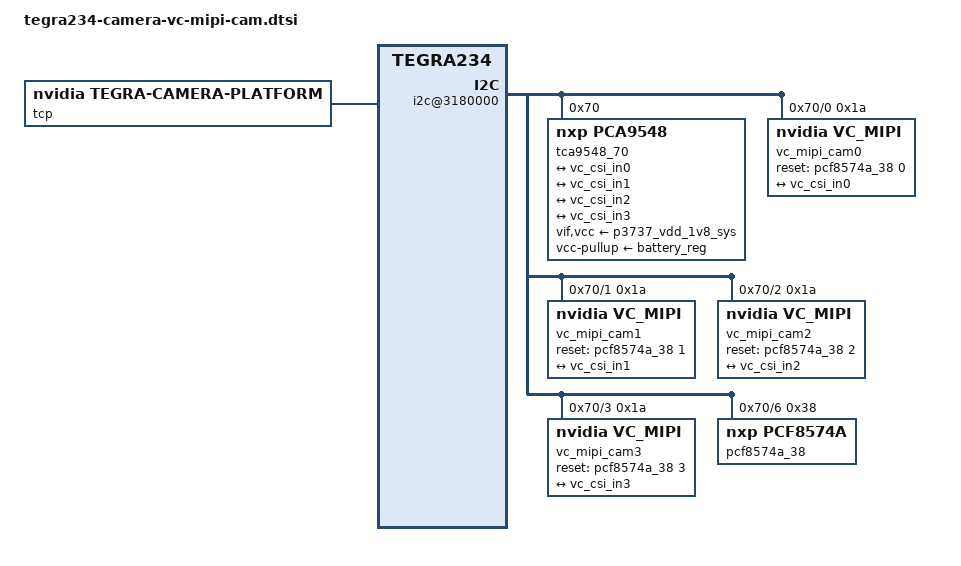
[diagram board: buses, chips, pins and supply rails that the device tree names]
/*
 * Copyright (c) 2025, Vision Components GmbH.  All rights reserved.
 *
 * This program is free software; you can redistribute it and/or modify
 * it under the terms of the GNU General Public License as published by
 * the Free Software Foundation; either version 2 of the License, or
 * (at your option) any later version.
 *
 * This program is distributed in the hope that it will be useful, but WITHOUT
 * ANY WARRANTY; without even the implied warranty of MERCHANTABILITY or
 * FITNESS FOR A PARTICULAR PURPOSE.  See the GNU General Public License for
 * more details.
 *
 * You should have received a copy of the GNU General Public License
 * along with this program.  If not, see <http://www.gnu.org/licenses/>.
 */

#include <dt-bindings/media/camera.h>
#include <dt-bindings/pinctrl/pinctrl-tegra.h>
#include "dt-bindings/clock/tegra234-clock.h"

// ------------------------------------------------------------------------------------------------
//  Driver Configuration for NVIDIA Jetson AGX Orin Developer Kit on Forecr DSADDON
// ------------------------------------------------------------------------------------------------
#define VC_MIPI_CAM_0       1   // 1: Enabled, 0: Disabled  (serial_a => CSI Port 0 => VI Stream 0)
#define VC_MIPI_CAM_1       1   // 1: Enabled, 0: Disabled  (serial_b => CSI Port 1 => VI Stream 1)
#define VC_MIPI_CAM_2       1   // 1: Enabled, 0: Disabled  (serial_c => CSI Port 2 => VI Stream 2)
#define VC_MIPI_CAM_3       1   // 1: Enabled, 0: Disabled  (serial_d => CSI Port 3 => VI Stream 3)
#define VC_MIPI_CAM_4       0   // 1: Enabled, 0: Disabled  (serial_e => CSI Port 4 => VI Stream 4)
#define VC_MIPI_CAM_5       0   // 1: Enabled, 0: Disabled  (serial_g => CSI Port 6 => VI Stream 5)

// ------------------------------------------------------------------------------------------------
//  Supported number of lanes
// -----+------------------------------------------------------------------------------------------
//  1   | OV7251, IMX296, IMX297
//  2   | OV9281, IMX264, IMX265
//  2,4 | IMX178, IMX183, IMX226, IMX250, IMX252, IMX273, IMX290, IMX327, IMX335, IMX392, 
//      | IMX412, IMX415, IMX462, IMX565, IMX566, IMX567, IMX568, IMX900
// -----+------------------------------------------------------------------------------------------
#define VC_MIPI_LANES       2   // 1, 2 Lanes
// ------------------------------------------------------------------------------------------------
//  Embedded Metadata Height
// -----+------------------------------------------------------------------------------------------
//  0   | IMX178, IMX183, IMX226, IMX250, IMX252, IMX264, IMX265, IMX273, IMX392, OV7251, OV9281
//  1   | IMX290, IMX327, IMX335, IMX415, IMX462, IMX565, IMX566, IMX567, IMX568, IMX900
//  2   | IMX296, IMX297, IMX412
// -----+------------------------------------------------------------------------------------------
#define VC_MIPI_METADATA_H  "0" // "0", "1", "2" Lines of meta data
// ------------------------------------------------------------------------------------------------
//   Sensor Manufacturer
// -----+------------------------------------------------------------------------------------------
//   1  | Sony Sensor (IMX)
//   2  | Omni Vision Sensor (OV)
// -----+------------------------------------------------------------------------------------------
#define VC_MIPI_MANUFACTURER 1
// ------------------------------------------------------------------------------------------------
//  GStreamer Support
// ------------------------------------------------------------------------------------------------
//  If you want to use GStreamer with nvarguscamerasrc you have to adjust this settings in the 
//  device tree below. The sections which have to be modified are marked by a comment. 
//  To find the correct parameter values please follow the instruction in the main README.md of 
//  this repository https://github.com/VC-MIPI-modules/vc_mipi_nvidia#gstreamer-support
// ------------------------------------------------------------------------------------------------

#define CAMERA_I2C_MUX_BUS(x) (0x1E + x)

#if VC_MIPI_LANES == 1
    #define BUS_WIDTH 1
    #define NUM_LANES "1" 
    #define PIX_CLK_HZ "150000000"
#endif
#if VC_MIPI_LANES == 2
    #define BUS_WIDTH 2
    #define NUM_LANES "2" 
    #define PIX_CLK_HZ "300000000"
#endif

#define VC_MIPI_CAMERAS (VC_MIPI_CAM_0 + VC_MIPI_CAM_1 + VC_MIPI_CAM_2 + VC_MIPI_CAM_3 + VC_MIPI_CAM_4 + VC_MIPI_CAM_5)

/ {
        tegra-capture-vi  {
                num-channels = <VC_MIPI_CAMERAS>;
                ports {
                        #address-cells = <1>;
                        #size-cells = <0>;
#if VC_MIPI_CAM_0 == 1
                        vc_vi_port0: port@0 {
                                reg = <0>;
                                vc_vi_in0: endpoint {
                                        port-index = <0>;
                                        bus-width = <BUS_WIDTH>;
                                        remote-endpoint = <&vc_csi_out0>;
                                };
                        };
#endif
#if VC_MIPI_CAM_1 == 1
                        vc_vi_port1: port@1 {
                                reg = <1>;
                                vc_vi_in1: endpoint {
                                        port-index = <1>;
                                        bus-width = <BUS_WIDTH>;
                                        remote-endpoint = <&vc_csi_out1>;
                                };
                        };
#endif
#if VC_MIPI_CAM_2 == 1
                        vc_vi_port2: port@2 {
                                reg = <2>;
                                vc_vi_in2: endpoint {
                                        port-index = <2>;
                                        bus-width = <BUS_WIDTH>;
                                        remote-endpoint = <&vc_csi_out2>;
                                };
                        };
#endif
#if VC_MIPI_CAM_3 == 1
                        vc_vi_port3: port@3 {
                                reg = <3>;
                                vc_vi_in3: endpoint {
                                        port-index = <3>;
                                        bus-width = <BUS_WIDTH>;
                                        remote-endpoint = <&vc_csi_out3>;
                                };
                        };
#endif
#if VC_MIPI_CAM_4 == 1
                        vc_vi_port4: port@4 {
                                reg = <4>;
                                vc_vi_in4: endpoint {
                                        port-index = <4>;
                                        bus-width = <BUS_WIDTH>;
                                        remote-endpoint = <&vc_csi_out4>;
                                };
                        };
#endif
#if VC_MIPI_CAM_5 == 1
                        vc_vi_port5: port@5 {
                                reg = <5>;
                                vc_vi_in5: endpoint {
                                        port-index = <5>;
                                        bus-width = <BUS_WIDTH>;
                                        remote-endpoint = <&vc_csi_out5>;
                                };
                        };
#endif
                }; // ports
        }; // tegra-capture-vi

        host1x@13e00000 {
                nvcsi@15a00000 {
                        num-channels = <VC_MIPI_CAMERAS>;
                        #address-cells = <1>;
                        #size-cells = <0>;
#if VC_MIPI_CAM_0 == 1
                        vc_csi_chan0: channel@0 {
                                reg = <0>;
                                ports {
                                        #address-cells = <1>;
                                        #size-cells = <0>;
                                                vc_csi_chan0_port0: port@0 {
                                                reg = <0>;
                                                vc_csi_in0: endpoint@0 {
                                                        port-index = <0>;
                                                        bus-width = <BUS_WIDTH>;
                                                        remote-endpoint = <&vc_mipi_out0>;
                                                };
                                        };
                                        vc_csi_chan0_port1: port@1 {
                                                reg = <1>;
                                                vc_csi_out0: endpoint@1 {
                                                        remote-endpoint = <&vc_vi_in0>;
                                                };
                                        };
                                };
                        };
#endif // VC_MIPI_CAM_0

#if VC_MIPI_CAM_1 == 1
                        vc_csi_chan1: channel@1 {
                                reg = <1>;
                                ports {
                                        #address-cells = <1>;
                                        #size-cells = <0>;
                                        vc_csi_chan1_port0: port@0 {
                                                reg = <0>;
                                                vc_csi_in1: endpoint@2 {
                                                        port-index = <1>;
                                                        bus-width = <BUS_WIDTH>;
                                                        remote-endpoint = <&vc_mipi_out1>;
                                                };
                                        };
                                        vc_csi_chan1_port1: port@1 {
                                                reg = <1>;
                                                vc_csi_out1: endpoint@3 {
                                                        remote-endpoint = <&vc_vi_in1>;
                                                };
                                        };
                                };
                        };
#endif // VC_MIPI_CAM_1

#if VC_MIPI_CAM_2 == 1
                        vc_csi_chan2: channel@2 {
                                reg = <2>;
                                ports {
                                        #address-cells = <1>;
                                        #size-cells = <0>;
                                        vc_csi_chan2_port0: port@0 {
                                                reg = <0>;
                                                vc_csi_in2: endpoint@4 {
                                                        port-index = <2>;
                                                        bus-width = <BUS_WIDTH>;
                                                        remote-endpoint = <&vc_mipi_out2>;
                                                };
                                        };
                                        vc_csi_chan2_port1: port@1 {
                                                reg = <1>;
                                                vc_csi_out2: endpoint@5 {
                                                        remote-endpoint = <&vc_vi_in2>;
                                                };
                                        };
                                };
                        };
#endif // VC_MIPI_CAM_2

#if VC_MIPI_CAM_3 == 1
                        vc_csi_chan3: channel@3 {
                                reg = <3>;
                                ports {
                                        #address-cells = <1>;
                                        #size-cells = <0>;
                                        vc_csi_chan3_port0: port@0 {
                                                reg = <0>;
                                                vc_csi_in3: endpoint@6 {
                                                        port-index = <3>;
                                                        bus-width = <BUS_WIDTH>;
                                                        remote-endpoint = <&vc_mipi_out3>;
                                                };
                                        };
                                        vc_csi_chan3_port1: port@1 {
                                                reg = <1>;
                                                vc_csi_out3: endpoint@7 {
                                                        remote-endpoint = <&vc_vi_in3>;
                                                };
                                        };
                                };
                        };
#endif // VC_MIPI_CAM_3

#if VC_MIPI_CAM_4 == 1
                        vc_csi_chan4: channel@4 {
                                reg = <4>;
                                ports {
                                        #address-cells = <1>;
                                        #size-cells = <0>;
                                        vc_csi_chan4_port0: port@0 {
                                                reg = <0>;
                                                vc_csi_in4: endpoint@8 {
                                                        port-index = <4>;
                                                        bus-width = <BUS_WIDTH>;
                                                        remote-endpoint = <&vc_mipi_out4>;
                                                };
                                        };
                                        vc_csi_chan4_port1: port@1 {
                                                reg = <1>;
                                                vc_csi_out4: endpoint@9 {
                                                        remote-endpoint = <&vc_vi_in4>;
                                                };
                                        };
                                };
                        };
#endif // VC_MIPI_CAM_4

#if VC_MIPI_CAM_5 == 1
                        vc_csi_chan5: channel@5 {
                                reg = <5>;
                                ports {
                                        #address-cells = <1>;
                                        #size-cells = <0>;
                                        vc_csi_chan5_port0: port@0 {
                                                reg = <0>;
                                                vc_csi_in5: endpoint@10 {
                                                        port-index = <6>;
                                                        bus-width = <BUS_WIDTH>;
                                                        remote-endpoint = <&vc_mipi_out5>;
                                                };
                                        };
                                        vc_csi_chan5_port1: port@1 {
                                                reg = <1>;
                                                vc_csi_out5: endpoint@11 {
                                                        remote-endpoint = <&vc_vi_in5>;
                                                };
                                        };
                                };
                        };
#endif // VC_MIPI_CAM_5

                }; // nvcsi
        }; // host1x

        i2c@3180000 {
                // I2C Multiplexer
                tca9548_70: tca9548@70 {
                        status = "okay";
                        compatible = "nxp,pca9548";
                        reg = <0x70>;
                        #address-cells = <1>;
                        #size-cells = <0>;
                        skip_mux_detect;
                        vif-supply = <&p3737_vdd_1v8_sys>;
                        vcc-supply = <&p3737_vdd_1v8_sys>;
                        vcc-pullup-supply = <&battery_reg>;
                        force_bus_start = <CAMERA_I2C_MUX_BUS(0)>;

#if VC_MIPI_CAM_0 == 1
                        i2c@0 {
                                reg = <0>;
                                i2c-mux,deselect-on-exit;
                                #address-cells = <1>;
                                #size-cells = <0>;

#if VC_MIPI_MANUFACTURER == 1
                                vc_mipi_cam0: vc_mipi@1a {
                                        reg                     = <0x1a>;
#else
                                vc_mipi_cam0: vc_mipi@60 {
                                        reg                     = <0x60>;
#endif

                                        reset-gpios = <&pcf8574a_38 0 GPIO_ACTIVE_HIGH>;

                                        compatible              = "nvidia,vc_mipi";
                                        devnode                 = "video0";
                                        use_sensor_mode_id      = "false";
                                        sensor_model            = "vc_mipi";

                                        num_lanes               = NUM_LANES;
                                        trigger_mode            = "0";
                                        io_mode                 = "0";

                                        // ----------------------------------------------------
                                        // If you want to use GStreamer with nvarguscamerasrc
                                        // you have to adjust this settings
                                        physical_w              = "7.066";
                                        physical_h              = "5.299";
                                        // ----------------------------------------------------

                                        // This node is needed by the Tegra framework.
                                        // You don't have to change any settings if just want 
                                        // to use the V4L API.
                                        mode0 {
                                                num_lanes                = NUM_LANES;
                                                tegra_sinterface         = "serial_a";
                                                embedded_metadata_height = VC_MIPI_METADATA_H;
                                                readout_orientation      = "0";
                                                lane_polarity            = "0";

                                                // ----------------------------------------------------
                                                // If you want to use GStreamer with nvarguscamerasrc
                                                // you have to adjust this settings. 
                                                active_l                 = "0";
                                                active_t                 = "0";
                                                active_w                 = "2048";
                                                active_h                 = "1536";
                                                mode_type                = "bayer";
                                                pixel_phase              = "rggb";
                                                csi_pixel_bit_depth      = "10";

                                                min_gain_val             = "0";         // mdB
                                                max_gain_val             = "48000";     // mdB
                                                step_gain_val            = "100";       // mdB
                                                default_gain             = "0";         // mdB

                                                min_exp_time             = "1";         // us
                                                max_exp_time             = "1000000";   // us
                                                step_exp_time            = "1";         // us
                                                default_exp_time         = "10000";     // us

                                                // For applications like argus_camera, there should 
                                                // be a minimal frame rate greater than zero!
                                                min_framerate            = "100";       // mHz
                                                max_framerate            = "83800";     // mHz
                                                step_framerate           = "100";       // mHz
                                                default_framerate        = "83800";     // mHz
                                                // ----------------------------------------------------

                                                gain_factor              = "1000";
                                                exposure_factor          = "1000000";
                                                framerate_factor         = "1000";
                                                inherent_gain            = "1";
                                                min_hdr_ratio            = "1";
                                                max_hdr_ratio            = "1";

                                                line_length              = "0";
                                                phy_mode                 = "DPHY";
                                                discontinuous_clk        = "no";
                                                mclk_khz                 = "24000";
                                                pix_clk_hz               = PIX_CLK_HZ;
                                                mclk_multiplier          = "0.0";       // deprecated
                                                cil_settletime           = "0";
                                                dpcm_enable              = "false";
                                        };

                                        ports {
                                                #address-cells = <1>;
                                                #size-cells = <0>;
                                                port@0 {
                                                        reg = <0>;
                                                        vc_mipi_out0: endpoint {
                                                                port-index = <0>;
                                                                bus-width = <BUS_WIDTH>;
                                                                remote-endpoint = <&vc_csi_in0>;
                                                        };
                                                };
                                        };
                                };
                        };
#endif // VC_MIPI_CAM_0

#if VC_MIPI_CAM_1 == 1
                        i2c@1 {
                                reg = <1>;
                                i2c-mux,deselect-on-exit;
                                #address-cells = <1>;
                                #size-cells = <0>;

#if VC_MIPI_MANUFACTURER == 1
                                vc_mipi_cam1: vc_mipi@1a {
                                        reg                     = <0x1a>;
#else
                                vc_mipi_cam1: vc_mipi@60 {
                                        reg                     = <0x60>;
#endif

                                        reset-gpios = <&pcf8574a_38 1 GPIO_ACTIVE_HIGH>;

                                        compatible              = "nvidia,vc_mipi";
                                        devnode                 = "video1";
                                        use_sensor_mode_id      = "false";
                                        sensor_model            = "vc_mipi";

                                        num_lanes               = NUM_LANES;
                                        trigger_mode            = "0";
                                        io_mode                 = "0";

                                        // ----------------------------------------------------
                                        // If you want to use GStreamer with nvarguscamerasrc
                                        // you have to adjust this settings
                                        physical_w              = "7.066";
                                        physical_h              = "5.299";
                                        // ----------------------------------------------------

                                        // This node is needed by the Tegra framework.
                                        // You don't have to change any settings if just want 
                                        // to use the V4L API.
                                        mode0 {
                                                num_lanes                = NUM_LANES;
                                                tegra_sinterface         = "serial_b";
                                                embedded_metadata_height = VC_MIPI_METADATA_H;
                                                readout_orientation      = "0";
                                                lane_polarity            = "0";

                                                // ----------------------------------------------------
                                                // If you want to use GStreamer with nvarguscamerasrc
                                                // you have to adjust this settings. 
                                                active_l                 = "0";
                                                active_t                 = "0";
                                                active_w                 = "2048";
                                                active_h                 = "1536";
                                                mode_type                = "bayer";
                                                pixel_phase              = "rggb";
                                                csi_pixel_bit_depth      = "10";

                                                min_gain_val             = "0";         // mdB
                                                max_gain_val             = "48000";     // mdB
                                                step_gain_val            = "100";       // mdB
                                                default_gain             = "0";         // mdB

                                                min_exp_time             = "1";         // us
                                                max_exp_time             = "1000000";   // us
                                                step_exp_time            = "1";         // us
                                                default_exp_time         = "10000";     // us

                                                // For applications like argus_camera, there should 
                                                // be a minimal frame rate greater than zero!
                                                min_framerate            = "100";       // mHz
                                                max_framerate            = "83800";     // mHz
                                                step_framerate           = "100";       // mHz
                                                default_framerate        = "83800";     // mHz
                                                // ----------------------------------------------------

                                                gain_factor              = "1000";
                                                exposure_factor          = "1000000";
                                                framerate_factor         = "1000";
                                                inherent_gain            = "1";
                                                min_hdr_ratio            = "1";
                                                max_hdr_ratio            = "1";

                                                line_length              = "0";
                                                phy_mode                 = "DPHY";
                                                discontinuous_clk        = "no";
                                                mclk_khz                 = "24000";
                                                pix_clk_hz               = PIX_CLK_HZ;
                                                mclk_multiplier          = "0.0";       // deprecated
                                                cil_settletime           = "0";
                                                dpcm_enable              = "false";
                                        };

                                        ports {
                                                #address-cells = <1>;
                                                #size-cells = <0>;
                                                port@0 {
                                                        reg = <0>;
                                                        vc_mipi_out1: endpoint {
                                                                port-index = <1>;
                                                                bus-width = <BUS_WIDTH>;
                                                                remote-endpoint = <&vc_csi_in1>;
                                                        };
                                                };
                                        };
                                };
                        };
#endif // VC_MIPI_CAM_1

#if VC_MIPI_CAM_2 == 1
                        i2c@2 {
                                reg = <2>;
                                i2c-mux,deselect-on-exit;
                                #address-cells = <1>;
                                #size-cells = <0>;

#if VC_MIPI_MANUFACTURER == 1
                                vc_mipi_cam2: vc_mipi@1a {
                                        reg                     = <0x1a>;
#else
                                vc_mipi_cam2: vc_mipi@60 {
                                        reg                     = <0x60>;
#endif

                                        reset-gpios = <&pcf8574a_38 2 GPIO_ACTIVE_HIGH>;

                                        compatible              = "nvidia,vc_mipi";
                                        devnode                 = "video2";
                                        use_sensor_mode_id      = "false";
                                        sensor_model            = "vc_mipi";

                                        num_lanes               = NUM_LANES;
                                        trigger_mode            = "0";
                                        io_mode                 = "0";

                                        // ----------------------------------------------------
                                        // If you want to use GStreamer with nvarguscamerasrc
                                        // you have to adjust this settings
                                        physical_w              = "7.066";
                                        physical_h              = "5.299";
                                        // ----------------------------------------------------

                                        // This node is needed by the Tegra framework.
                                        // You don't have to change any settings if just want 
                                        // to use the V4L API.
                                        mode0 {
                                                num_lanes                = NUM_LANES;
                                                tegra_sinterface         = "serial_c";
                                                embedded_metadata_height = VC_MIPI_METADATA_H;
                                                readout_orientation      = "0";
                                                lane_polarity            = "0";

                                                // ----------------------------------------------------
                                                // If you want to use GStreamer with nvarguscamerasrc
                                                // you have to adjust this settings. 
                                                active_l                 = "0";
                                                active_t                 = "0";
                                                active_w                 = "2048";
                                                active_h                 = "1536";
                                                mode_type                = "bayer";
                                                pixel_phase              = "rggb";
                                                csi_pixel_bit_depth      = "10";

                                                min_gain_val             = "0";         // mdB
                                                max_gain_val             = "48000";     // mdB
                                                step_gain_val            = "100";       // mdB
                                                default_gain             = "0";         // mdB

                                                min_exp_time             = "1";         // us
                                                max_exp_time             = "1000000";   // us
                                                step_exp_time            = "1";         // us
                                                default_exp_time         = "10000";     // us

                                                // For applications like argus_camera, there should 
                                                // be a minimal frame rate greater than zero!
                                                min_framerate            = "100";       // mHz
                                                max_framerate            = "83800";     // mHz
                                                step_framerate           = "100";       // mHz
                                                default_framerate        = "83800";     // mHz
                                                // ----------------------------------------------------

                                                gain_factor              = "1000";
                                                exposure_factor          = "1000000";
                                                framerate_factor         = "1000";
                                                inherent_gain            = "1";
                                                min_hdr_ratio            = "1";
                                                max_hdr_ratio            = "1";

                                                line_length              = "0";
                                                phy_mode                 = "DPHY";
                                                discontinuous_clk        = "no";
                                                mclk_khz                 = "24000";
                                                pix_clk_hz               = PIX_CLK_HZ;
                                                mclk_multiplier          = "0.0";       // deprecated
                                                cil_settletime           = "0";
                                                dpcm_enable              = "false";
                                        };

                                        ports {
                                                #address-cells = <1>;
                                                #size-cells = <0>;
                                                port@0 {
                                                        reg = <0>;
                                                        vc_mipi_out2: endpoint {
                                                                port-index = <2>;
                                                                bus-width = <BUS_WIDTH>;
                                                                remote-endpoint = <&vc_csi_in2>;
                                                        };
                                                };
                                        };
                                };
                        };
#endif // VC_MIPI_CAM_2

#if VC_MIPI_CAM_3 == 1
                        i2c@3 {
                                reg = <3>;
                                i2c-mux,deselect-on-exit;
                                #address-cells = <1>;
                                #size-cells = <0>;

#if VC_MIPI_MANUFACTURER == 1
                                vc_mipi_cam3: vc_mipi@1a {
                                        reg                     = <0x1a>;
#else
                                vc_mipi_cam3: vc_mipi@60 {
                                        reg                     = <0x60>;
#endif

                                        reset-gpios = <&pcf8574a_38 3 GPIO_ACTIVE_HIGH>;

                                        compatible              = "nvidia,vc_mipi";
                                        devnode                 = "video3";
                                        use_sensor_mode_id      = "false";
                                        sensor_model            = "vc_mipi";

                                        num_lanes               = NUM_LANES;
                                        trigger_mode            = "0";
                                        io_mode                 = "0";

                                        // ----------------------------------------------------
                                        // If you want to use GStreamer with nvarguscamerasrc
                                        // you have to adjust this settings
                                        physical_w              = "7.066";
                                        physical_h              = "5.299";
                                        // ----------------------------------------------------

                                        // This node is needed by the Tegra framework.
                                        // You don't have to change any settings if just want 
                                        // to use the V4L API.
                                        mode0 {
                                                num_lanes                = NUM_LANES;
                                                tegra_sinterface         = "serial_d";
                                                embedded_metadata_height = VC_MIPI_METADATA_H;
                                                readout_orientation      = "0";
                                                lane_polarity            = "0";

                                                // ----------------------------------------------------
                                                // If you want to use GStreamer with nvarguscamerasrc
                                                // you have to adjust this settings. 
                                                active_l                 = "0";
                                                active_t                 = "0";
                                                active_w                 = "2048";
                                                active_h                 = "1536";
                                                mode_type                = "bayer";
                                                pixel_phase              = "rggb";
                                                csi_pixel_bit_depth      = "10";

                                                min_gain_val             = "0";         // mdB
                                                max_gain_val             = "48000";     // mdB
                                                step_gain_val            = "100";       // mdB
                                                default_gain             = "0";         // mdB

                                                min_exp_time             = "1";         // us
                                                max_exp_time             = "1000000";   // us
                                                step_exp_time            = "1";         // us
                                                default_exp_time         = "10000";     // us

                                                // For applications like argus_camera, there should 
                                                // be a minimal frame rate greater than zero!
                                                min_framerate            = "100";       // mHz
                                                max_framerate            = "83800";     // mHz
                                                step_framerate           = "100";       // mHz
                                                default_framerate        = "83800";     // mHz
                                                // ----------------------------------------------------

                                                gain_factor              = "1000";
                                                exposure_factor          = "1000000";
                                                framerate_factor         = "1000";
                                                inherent_gain            = "1";
                                                min_hdr_ratio            = "1";
                                                max_hdr_ratio            = "1";

                                                line_length              = "0";
                                                phy_mode                 = "DPHY";
                                                discontinuous_clk        = "no";
                                                mclk_khz                 = "24000";
                                                pix_clk_hz               = PIX_CLK_HZ;
                                                mclk_multiplier          = "0.0";       // deprecated
                                                cil_settletime           = "0";
                                                dpcm_enable              = "false";
                                        };

                                        ports {
                                                #address-cells = <1>;
                                                #size-cells = <0>;
                                                port@0 {
                                                        reg = <0>;
                                                        vc_mipi_out3: endpoint {
                                                                port-index = <3>;
                                                                bus-width = <BUS_WIDTH>;
                                                                remote-endpoint = <&vc_csi_in3>;
                                                        };
                                                };
                                        };
                                };
                        };
#endif // VC_MIPI_CAM_3

#if VC_MIPI_CAM_4 == 1
                        i2c@4 {
                                reg = <4>;
                                i2c-mux,deselect-on-exit;
                                #address-cells = <1>;
                                #size-cells = <0>;

#if VC_MIPI_MANUFACTURER == 1
                                vc_mipi_cam4: vc_mipi@1a {
                                        reg                     = <0x1a>;
#else
                                vc_mipi_cam4: vc_mipi@60 {
                                        reg                     = <0x60>;
#endif

                                        reset-gpios = <&pcf8574a_38 4 GPIO_ACTIVE_HIGH>;

                                        compatible              = "nvidia,vc_mipi";
                                        devnode                 = "video4";
                                        use_sensor_mode_id      = "false";
                                        sensor_model            = "vc_mipi";

                                        num_lanes               = NUM_LANES;
                                        trigger_mode            = "0";
                                        io_mode                 = "0";

                                        // ----------------------------------------------------
                                        // If you want to use GStreamer with nvarguscamerasrc
                                        // you have to adjust this settings
                                        physical_w              = "1.000";
                                        physical_h              = "1.000";
                                        // ----------------------------------------------------

                                        // This node is needed by the Tegra framework.
                                        // You don't have to change any settings if just want 
                                        // to use the V4L API.
                                        mode0 {
                                                num_lanes                = NUM_LANES;

                                                tegra_sinterface         = "serial_e";
                                                embedded_metadata_height = VC_MIPI_METADATA_H;

                                                readout_orientation      = "0";
                                                lane_polarity            = "0";

                                                // ----------------------------------------------------
                                                // If you want to use GStreamer with nvarguscamerasrc
                                                // you have to adjust this settings. 
                                                active_l                 = "0";
                                                active_t                 = "0";
                                                active_w                 = "0";
                                                active_h                 = "0";
                                                mode_type                = "bayer";
                                                pixel_phase              = "rggb";
                                                csi_pixel_bit_depth      = "10";

                                                min_gain_val             = "0";         // mdB
                                                max_gain_val             = "48000";     // mdB
                                                step_gain_val            = "100";       // mdB
                                                default_gain             = "0";         // mdB

                                                min_exp_time             = "1";         // us
                                                max_exp_time             = "1000000";   // us
                                                step_exp_time            = "1";         // us
                                                default_exp_time         = "10000";     // us

                                                // For applications like argus_camera, there should 
                                                // be a minimal frame rate greater than zero!
                                                min_framerate            = "100";       // mHz
                                                max_framerate            = "60000";     // mHz
                                                step_framerate           = "100";       // mHz
                                                default_framerate        = "60000";     // mHz
                                                // ----------------------------------------------------

                                                gain_factor              = "1000";
                                                exposure_factor          = "1000000";
                                                framerate_factor         = "1000";
                                                inherent_gain            = "1";
                                                min_hdr_ratio            = "1";
                                                max_hdr_ratio            = "1";

                                                line_length              = "0";
                                                phy_mode                 = "DPHY";
                                                discontinuous_clk        = "no";
                                                mclk_khz                 = "24000";
                                                pix_clk_hz               = PIX_CLK_HZ;
                                                mclk_multiplier          = "0.0";       // deprecated
                                                cil_settletime           = "0";
                                                dpcm_enable              = "false";
                                        };

                                        ports {
                                                #address-cells = <1>;
                                                #size-cells = <0>;
                                                port@0 {
                                                        reg = <0>;
                                                        vc_mipi_out4: endpoint {
                                                                port-index = <4>;
                                                                bus-width = <BUS_WIDTH>;
                                                                remote-endpoint = <&vc_csi_in4>;
                                                        };
                                                };
                                        };
                                };
                        };
#endif // VC_MIPI_CAM_4

#if VC_MIPI_CAM_5 == 1
                        i2c@5 {
                                reg = <5>;
                                i2c-mux,deselect-on-exit;
                                #address-cells = <1>;
                                #size-cells = <0>;

#if VC_MIPI_MANUFACTURER == 1
                                vc_mipi_cam5: vc_mipi@1a {
                                        reg                     = <0x1a>;
#else
                                vc_mipi_cam5: vc_mipi@60 {
                                        reg                     = <0x60>;
#endif

                                        reset-gpios = <&pcf8574a_38 5 GPIO_ACTIVE_HIGH>;

                                        compatible              = "nvidia,vc_mipi";
                                        devnode                 = "video5";
                                        use_sensor_mode_id      = "false";
                                        sensor_model            = "vc_mipi";

                                        num_lanes               = NUM_LANES;

                                        trigger_mode            = "0";
                                        io_mode                 = "0";

                                        // ----------------------------------------------------
                                        // If you want to use GStreamer with nvarguscamerasrc
                                        // you have to adjust this settings
                                        physical_w              = "1.000";
                                        physical_h              = "1.000";
                                        // ----------------------------------------------------

                                        // This node is needed by the Tegra framework.
                                        // You don't have to change any settings if just want 
                                        // to use the V4L API.
                                        mode0 {
                                                num_lanes                = NUM_LANES;

                                                tegra_sinterface         = "serial_g";
                                                embedded_metadata_height = VC_MIPI_METADATA_H;
                                                readout_orientation      = "0";
                                                lane_polarity            = "0";

                                                // ----------------------------------------------------
                                                // If you want to use GStreamer with nvarguscamerasrc
                                                // you have to adjust this settings. 
                                                active_l                 = "0";
                                                active_t                 = "0";
                                                active_w                 = "0";
                                                active_h                 = "0";
                                                mode_type                = "bayer";
                                                pixel_phase              = "rggb";
                                                csi_pixel_bit_depth      = "10";

                                                min_gain_val             = "0";         // mdB
                                                max_gain_val             = "48000";     // mdB
                                                step_gain_val            = "100";       // mdB
                                                default_gain             = "0";         // mdB

                                                min_exp_time             = "1";         // us
                                                max_exp_time             = "1000000";   // us
                                                step_exp_time            = "1";         // us
                                                default_exp_time         = "10000";     // us

                                                // For applications like argus_camera, there should 
                                                // be a minimal frame rate greater than zero!
                                                min_framerate            = "100";       // mHz
                                                max_framerate            = "60000";     // mHz
                                                step_framerate           = "100";       // mHz
                                                default_framerate        = "60000";     // mHz
                                                // ----------------------------------------------------

                                                gain_factor              = "1000";
                                                exposure_factor          = "1000000";
                                                framerate_factor         = "1000";
                                                inherent_gain            = "1";
                                                min_hdr_ratio            = "1";
                                                max_hdr_ratio            = "1";

                                                line_length              = "0";
                                                phy_mode                 = "DPHY";
                                                discontinuous_clk        = "no";
                                                mclk_khz                 = "24000";
                                                pix_clk_hz               = PIX_CLK_HZ;
                                                mclk_multiplier          = "0.0";       // deprecated
                                                cil_settletime           = "0";
                                                dpcm_enable              = "false";
                                        };

                                        ports {
                                                #address-cells = <1>;
                                                #size-cells = <0>;
                                                port@0 {
                                                        reg = <0>;
                                                        vc_mipi_out5: endpoint {
                                                                port-index = <5>;
                                                                bus-width = <BUS_WIDTH>;
                                                                remote-endpoint = <&vc_csi_in5>;
                                                        };
                                                };
                                        };
                                };
                        };
#endif // VC_MIPI_CAM_5

// IO Expander
                        i2c@6 {
                                status = "okay";
                                reg = <6>;
                                i2c-mux,deselect-on-exit;
                                #address-cells = <1>;
                                #size-cells = <0>;
                                pcf8574a_38: pcf8574a@38 {
                                        status = "okay";
                                        compatible = "nxp,pcf8574a";
                                        reg = <0x38>;
                                        gpio-controller;
                                        #gpio-cells = <2>;
                                        pcf8574a_38_outlow {
                                                /*
                                                        * GPIO-0 : PWDN_CAM0
                                                        * GPIO-1 : PWDN_CAM1
                                                        * GPIO-2 : PWDN_CAM2
                                                        * GPIO-3 : PWDN_CAM3
                                                        * GPIO-4 : PWDN_CAM4
                                                        * GPIO-5 : PWDN_CAM5
                                                        * GPIO-6 : 
                                                        * GPIO-7 : 
                                                        */
                                                gpio-hog;
                                                gpios = <0 0 1 0 2 0 3 0 4 0 5 0 6 0 7 0>;
                                                output-low;
                                                label = "pcf8574a_38_outlow_0",
                                                        "pcf8574a_38_outlow_1",
                                                        "pcf8574a_38_outlow_2",
                                                        "pcf8574a_38_outlow_3",
                                                        "pcf8574a_38_outlow_4",
                                                        "pcf8574a_38_outlow_5",
                                                        "pcf8574a_38_outlow_6",
                                                        "pcf8574a_38_outlow_7";
                                        };
                                };
                        };
                };
        };

        lens@vc_mipi {
                min_focus_distance  = "0.0";
                hyper_focal         = "0.0";
                focal_length        = "6.0";
                f_number            = "2.0";
                aperture            = "0.0";
        };
};

/ {
        tcp: tegra-camera-platform {
                compatible = "nvidia, tegra-camera-platform";
                num_csi_lanes = <16>;
                max_lane_speed = <1500000>;
                min_bits_per_pixel = <10>;
                vi_peak_byte_per_pixel = <2>;
                vi_bw_margin_pct = <25>;
                max_pixel_rate = <240000>;
                isp_peak_byte_per_pixel = <5>;
                isp_bw_margin_pct = <25>;

                modules {
#if VC_MIPI_CAM_0 == 1
                        cam_module0: module0 {
                                badge = "bottomleft_vc_mipi";
                                position = "bottomleft";
                                orientation = "1";
                                cam_module0_drivernode0: drivernode0 {
                                        pcl_id = "v4l2_sensor";
                                        devname = "vc_mipi 30-001a";
                                        proc-device-tree = "/proc/device-tree/i2c@3180000/tca9548@70/i2c@0/vc_mipi@1a";
                                };
                                cam_module0_drivernode1: drivernode1 {
                                        pcl_id = "v4l2_lens";
                                        proc-device-tree = "/proc/device-tree/lens@vc_mipi/";
                                };
                        };
#endif // VC_MIPI_CAM_0

#if VC_MIPI_CAM_1 == 1
                        cam_module1: module1 {
                                badge = "centerleft_vc_mipi";
                                position = "centerleft";
                                orientation = "1";
                                cam_module1_drivernode0: drivernode0 {
                                        pcl_id = "v4l2_sensor";
                                        devname = "vc_mipi 31-001a";
                                        proc-device-tree = "/proc/device-tree/i2c@3180000/tca9548@70/i2c@1/vc_mipi@1a";
                                };
                                cam_module1_drivernode1: drivernode1 {
                                        pcl_id = "v4l2_lens";
                                        proc-device-tree = "/proc/device-tree/lens@vc_mipi/";
                                };
                        };
#endif // VC_MIPI_CAM_1

#if VC_MIPI_CAM_2 == 1
                        cam_module2: module2 {
                                badge = "centerright_vc_mipi";
                                position = "centerright";
                                orientation = "1";
                                cam_module2_drivernode0: drivernode0 {
                                        pcl_id = "v4l2_sensor";
                                        devname = "vc_mipi 32-001a";
                                        proc-device-tree = "/proc/device-tree/i2c@3180000/tca9548@70/i2c@2/vc_mipi@1a";
                                };
                                cam_module2_drivernode1: drivernode1 {
                                        pcl_id = "v4l2_lens";
                                        proc-device-tree = "/proc/device-tree/lens@vc_mipi/";
                                };
                        };
#endif // VC_MIPI_CAM_2

#if VC_MIPI_CAM_3 == 1
                        cam_module3: module3 {
                                badge = "topleft_vc_mipi";
                                position = "topleft";
                                orientation = "1";
                                cam_module3_drivernode0: drivernode0 {
                                        pcl_id = "v4l2_sensor";
                                        devname = "vc_mipi 33-001a";
                                        proc-device-tree = "/proc/device-tree/i2c@3180000/tca9548@70/i2c@3/vc_mipi@1a";
                                };
                                cam_module3_drivernode1: drivernode1 {
                                        pcl_id = "v4l2_lens";
                                        proc-device-tree = "/proc/device-tree/lens@vc_mipi/";
                                };
                        };
#endif // VC_MIPI_CAM_3

#if VC_MIPI_CAM_4 == 1
                        cam_module4: module4 {
                                badge = "bottomright_vc_mipi";
                                position = "bottomright";
                                orientation = "1";
                                cam_module4_drivernode0: drivernode0 {
                                        pcl_id = "v4l2_sensor";
                                        devname = "vc_mipi 34-001a";
                                        proc-device-tree = "/proc/device-tree/i2c@3180000/tca9548@70/i2c@4/vc_mipi@1a";
                                };
                                cam_module4_drivernode1: drivernode1 {
                                        pcl_id = "v4l2_lens";
                                        proc-device-tree = "/proc/device-tree/lens@vc_mipi/";
                                };
                        };
#endif // VC_MIPI_CAM_4

#if VC_MIPI_CAM_5 == 1
                        cam_module5: module5 {
                                badge = "topright_vc_mipi";
                                position = "topright";
                                orientation = "1";
                                cam_module5_drivernode0: drivernode0 {
                                        pcl_id = "v4l2_sensor";
                                        devname = "vc_mipi 35-001a";
                                        proc-device-tree = "/proc/device-tree/i2c@3180000/tca9548@70/i2c@5/vc_mipi@1a";
                                };
                                cam_module5_drivernode1: drivernode1 {
                                        pcl_id = "v4l2_lens";
                                        proc-device-tree = "/proc/device-tree/lens@vc_mipi/";
                                };
                        };
#endif // VC_MIPI_CAM_5
                };
        };
};
